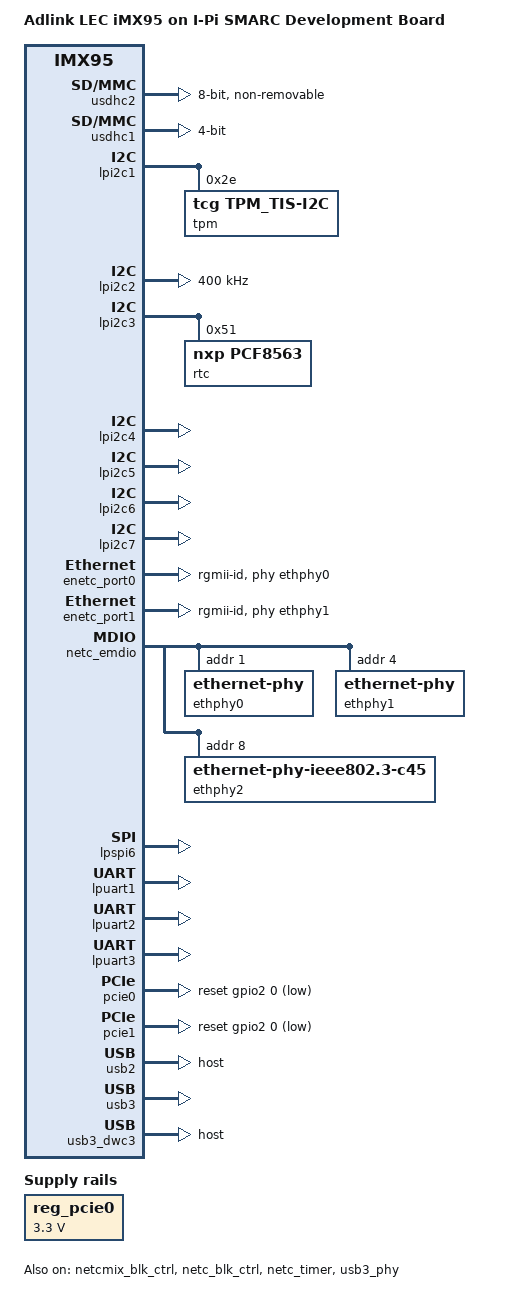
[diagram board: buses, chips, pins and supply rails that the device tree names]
// SPDX-License-Identifier: GPL-2.0-or-later OR MIT
/*
 * Copyright (C) 2026 Adlink
 *
 * https://www.adlinktech.com/products/Computer_on_Modules/SMARC/LEC-IMX95
 * https://www.adlinktech.com/products/computer_on_modules/SMARCStarterKits/I-Pi_SMARC_IMX95
 */

/dts-v1/;

#include <dt-bindings/pwm/pwm.h>
#include <dt-bindings/usb/pd.h>
#include "lec-imx95.dtsi"

/ {
	model = "Adlink LEC iMX95 on I-Pi SMARC Development Board";
	compatible = "adlink,lec-imx95",
		     "fsl,imx95";


	reg_pcie0: regulator-pcie0 {
		compatible = "regulator-fixed";
		regulator-name = "PCIE_WLAN_EN";
		regulator-min-microvolt = <3300000>;
		regulator-max-microvolt = <3300000>;
		//gpio = <&i2c2_gpio_expander_71 3 GPIO_ACTIVE_HIGH>;
		enable-active-high;
		regulator-always-on;
	};

};


/* eMMC */
&usdhc2 {
	status = "okay";
	bus-width = <8>;
	non-removable;
};

/* SD Card */
&usdhc1 {
	status = "okay";
	bus-width = <4>;
};

&lpi2c1 {
	status = "okay";

	/* TPM */
	tpm@2e {
		compatible = "tcg,tpm_tis-i2c";
		reg = <0x2e>;
		status = "okay";
	};

};


&lpi2c2 {
	clock-frequency = <400000>;
	pinctrl-names = "default";
	pinctrl-0 = <&pinctrl_lpi2c2>;
	status = "okay";

	/* U1000 SX1509BIULTRT: SMARC resets, incl. PCIEA/PCIEB
	i2c2_gpio_expander_71: gpio@71 {
		compatible = "semtech,sx1509q";
		reg = <0x71>;
		#gpio-cells = <2>;
		gpio-controller;
		semtech,probe-reset;
	};*/
};


&lpi2c3 {
	status = "okay";

	/* NXP PCF8563B RTC */
	rtc: rtc@51 {
		compatible = "nxp,pcf8563";
		reg = <0x51>;

		status = "okay";
	};
};

&lpi2c4 {
        status = "okay";
};

&lpi2c5 {
        status = "okay";
};

&lpi2c6 {
        status = "okay";
};

&lpi2c7 {
        status = "okay";
};


/* Ethernet SMARC GBE0*/
&enetc_port0 {
	pinctrl-names = "default";
	pinctrl-0 = <&pinctrl_enetc0>;
	phy-handle = <&ethphy0>;
	phy-mode = "rgmii-id";
	status = "okay";

};

/* Ethernet SMARC GBE1 */
&enetc_port1 {
	pinctrl-names = "default";
	pinctrl-0 = <&pinctrl_enetc1>;
	phy-handle = <&ethphy1>;
	phy-mode = "rgmii-id";
	status = "okay";
};

&netc_emdio {
	pinctrl-names = "default";
	pinctrl-0 = <&pinctrl_emdio>;
	status = "okay";

	ethphy0: ethernet-phy@1 {
		reg = <1>;
		eee-broken-1000t;
		reset-assert-us = <10000>;
		reset-deassert-us = <80000>;
	};

	ethphy1: ethernet-phy@4 {
		reg = <4>;
		eee-broken-1000t;
		reset-assert-us = <10000>;
		reset-deassert-us = <80000>;
	};

	ethphy2: ethernet-phy@8 {
		compatible = "ethernet-phy-ieee802.3-c45";
		reg = <8>;
	};
};

&netcmix_blk_ctrl {
       status = "okay";
};

&netc_blk_ctrl {
       status = "okay";
};

&netc_timer {
       status = "okay";
};




/* SMARC SPI0 */
&lpspi6 {
	status = "okay";
};

/* SMARC SER1, used as the Linux Console */
&lpuart1 {
	/* console */
	pinctrl-names = "default";
	pinctrl-0 = <&pinctrl_uart1>;
	status = "okay";
};

/* SMARC SER0, RS485 */
&lpuart2 {
	status = "okay";
};

/* SMARC SER3, RS232 */
&lpuart3 {
	status = "okay";
};

/* SMARC PCIE_A / M2 Key B */
&pcie0 {
	pinctrl-names = "default";
	pinctrl-0 = <&pinctrl_pcie0>;
	reset-gpio = <&gpio2 0 GPIO_ACTIVE_LOW>;
	vpcie-supply = <&reg_pcie0>;
	status = "okay";
};

/* SMARC PCIE_B /  M2 Key E */
&pcie1 {
	pinctrl-names = "default";
	pinctrl-0 = <&pinctrl_pcie1>;
	reset-gpio = <&gpio2 0 GPIO_ACTIVE_LOW>;
	status = "okay";
};

/* SMARC USB0 */
&usb2 {
	dr_mode = "host";
	hnp-disable;
	srp-disable;
	adp-disable;
	disable-over-current;
	status = "okay";
};

&usb3 {
	status = "okay";
};

&usb3_phy {
	status = "okay";
};

&usb3_dwc3 {
	dr_mode = "host";
	hnp-disable;
	srp-disable;
	adp-disable;
	usb-role-switch;
	role-switch-default-mode = "none";
	snps,dis-u1-entry-quirk;
	snps,dis-u2-entry-quirk;
	status = "okay";
};


/* SMARC SDIO */
&usdhc2 {
	status = "okay";
};
